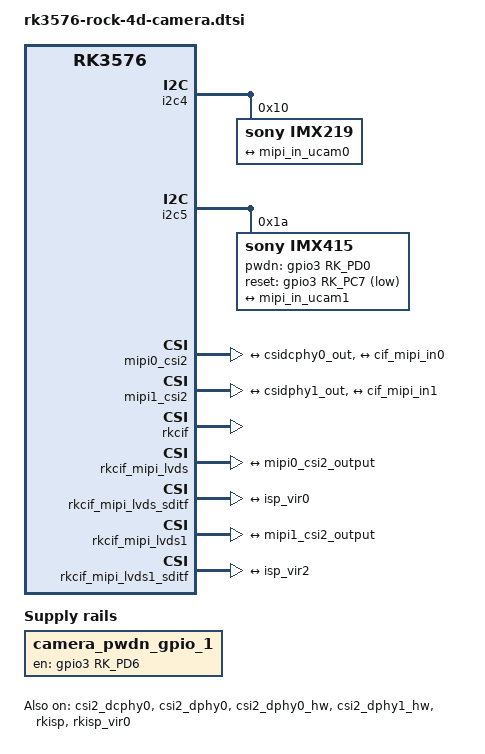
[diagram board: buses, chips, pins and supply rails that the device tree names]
// SPDX-License-Identifier: (GPL-2.0+ OR MIT)
/*
 * Copyright (c) 2024 Rockchip Electronics Co., Ltd.
 *
 */

/ {
	camera_pwdn_gpio_1: camera-pwdn-gpio-1 {
		compatible = "regulator-fixed";
		regulator-name = "camera_pwdn_gpio_1";
		regulator-always-on;
		regulator-boot-on;
		enable-active-high;
		gpio = <&gpio3 RK_PD6 GPIO_ACTIVE_HIGH>;
		pinctrl-names = "default";
		pinctrl-0 = <&cam_pwdn_gpio_1>;
	};
	// clk_cam_24m: external-camera-clock-24m {
	// 	compatible = "fixed-clock";
	// 	clock-frequency = <24000000>;
	// 	clock-output-names = "clk_cam_24m";
	// 	#clock-cells = <0>;
	// };
};

&csi2_dcphy0 {
	status = "okay";

	ports {
		#address-cells = <1>;
		#size-cells = <0>;
		port@0 {
			reg = <0>;
			#address-cells = <1>;
			#size-cells = <0>;

			mipi_in_ucam0: endpoint@1 {
				reg = <1>;
				remote-endpoint = <&imx219_out0>;
				data-lanes = <1 2>;
			};
		};
		port@1 {
			reg = <1>;
			#address-cells = <1>;
			#size-cells = <0>;

			csidcphy0_out: endpoint@0 {
				reg = <0>;
				remote-endpoint = <&mipi0_csi2_input>;
			};
		};
	};
};

&csi2_dphy0 {
	status = "okay";

	ports {
		#address-cells = <1>;
		#size-cells = <0>;
		port@0 {
			reg = <0>;
			#address-cells = <1>;
			#size-cells = <0>;

			mipi_in_ucam1: endpoint@1 {
				reg = <1>;
				remote-endpoint = <&imx415_out2>;
				data-lanes = <1 2 3 4>;
			};
		};
		port@1 {
			reg = <1>;
			#address-cells = <1>;
			#size-cells = <0>;

			csidphy1_out: endpoint@0 {
				reg = <0>;
				remote-endpoint = <&mipi1_csi2_input>;
			};
		};
	};
};

&csi2_dphy0_hw {
	status = "okay";
};

&csi2_dphy1_hw {
	status = "okay";
};

&i2c4 {
	status = "okay";
	pinctrl-0 = <&i2c4m3_xfer>;

	imx219: imx219@10 {
		compatible = "sony,imx219";
		reg = <0x10>;

		clocks = <&cru CLK_MIPI_CAMERAOUT_M2>;
		clock-names = "xvclk";
		pinctrl-names = "default";
		pinctrl-0 = <&cam_clk2m0_clk2>;
		// power-domains = <&power RK3576_PD_VI>;
		// pwdn-gpios = <&gpio3 RK_PD6 GPIO_ACTIVE_HIGH>;
		
		rockchip,camera-module-index = <1>;
		rockchip,camera-module-facing = "front";
		rockchip,camera-module-name = "rpi-camera-v2";
		rockchip,camera-module-lens-name = "default";

		port {
			imx219_out0: endpoint {
				remote-endpoint = <&mipi_in_ucam0>;
				data-lanes = <1 2>;
			};
		};
	};
};

&i2c5 {
	status = "okay";
	pinctrl-0 = <&i2c5m3_xfer>;

	imx415: imx415@1a {
		compatible = "sony,imx415";
		reg = <0x1a>;
		clocks = <&cru CLK_MIPI_CAMERAOUT_M1>;
		clock-names = "xvclk";
		pinctrl-names = "default";
		pinctrl-0 = <&cam_clk1m0_clk1>;
		power-domains = <&power RK3576_PD_VI>;
		// avdd-supply = <&vcc_3v3_s0>;
		pwdn-gpios = <&gpio3 RK_PD0 GPIO_ACTIVE_HIGH>;
		reset-gpios = <&gpio3 RK_PC7 GPIO_ACTIVE_LOW>;
		rockchip,camera-module-index = <0>;
		rockchip,camera-module-facing = "back";
		rockchip,camera-module-name = "CMK-OT2022-PX1";
		rockchip,camera-module-lens-name = "IR0147-50IRC-8M-F20";
		port {
			imx415_out2: endpoint {
				remote-endpoint = <&mipi_in_ucam1>;
				data-lanes = <1 2 3 4>;
			};
		};
	};
};

&mipi0_csi2 {
	status = "okay";

	ports {
		#address-cells = <1>;
		#size-cells = <0>;

		port@0 {
			reg = <0>;
			#address-cells = <1>;
			#size-cells = <0>;

			mipi0_csi2_input: endpoint@1 {
				reg = <1>;
				remote-endpoint = <&csidcphy0_out>;
			};
		};

		port@1 {
			reg = <1>;
			#address-cells = <1>;
			#size-cells = <0>;

			mipi0_csi2_output: endpoint@0 {
				reg = <0>;
				remote-endpoint = <&cif_mipi_in0>;
			};
		};
	};
};

&mipi1_csi2 {
	status = "okay";

	ports {
		#address-cells = <1>;
		#size-cells = <0>;

		port@0 {
			reg = <0>;
			#address-cells = <1>;
			#size-cells = <0>;

			mipi1_csi2_input: endpoint@1 {
				reg = <1>;
				remote-endpoint = <&csidphy1_out>;
			};
		};

		port@1 {
			reg = <1>;
			#address-cells = <1>;
			#size-cells = <0>;

			mipi1_csi2_output: endpoint@0 {
				reg = <0>;
				remote-endpoint = <&cif_mipi_in1>;
			};
		};
	};
};

&rkcif {
	status = "okay";
};

&rkcif_mipi_lvds {
	status = "okay";

	port {
		cif_mipi_in0: endpoint {
			remote-endpoint = <&mipi0_csi2_output>;
		};
	};
};

&rkcif_mipi_lvds_sditf {
	status = "okay";

	port {
		mipi_lvds_sditf: endpoint {
			remote-endpoint = <&isp_vir0>;
		};
	};
};

&rkcif_mipi_lvds1 {
	status = "okay";

	port {
		cif_mipi_in1: endpoint {
			remote-endpoint = <&mipi1_csi2_output>;
		};
	};
};

&rkcif_mipi_lvds1_sditf {
	status = "okay";

	port {
		mipi1_lvds_sditf: endpoint {
			remote-endpoint = <&isp_vir2>;
		};
	};
};

&rkcif_mmu {
	status = "okay";
};

&rkisp {
	status = "okay";
};

&rkisp_mmu {
	status = "okay";
};

&rkisp_vir0 {
	status = "okay";

	port {
		#address-cells = <1>;
		#size-cells = <0>;

		isp_vir0: endpoint@0 {
			reg = <0>;
			remote-endpoint = <&mipi_lvds_sditf>;
		};

		isp_vir2: endpoint@1 {
			reg = <1>;
			remote-endpoint = <&mipi1_lvds_sditf>;
		};
	};
};

&pinctrl {
	camera {
		cam_pwdn_gpio_1: cam-pwdn-gpio-1 {
			rockchip,pins = <2 RK_PC5 RK_FUNC_GPIO &pcfg_pull_up>;
		};
	};
};

// &rkvpss {
// 	status = "okay";
// };

// &rkvpss_mmu {
// 	status = "okay";
// };

// &rkvpss_vir0 {
// 	status = "okay";
// };
